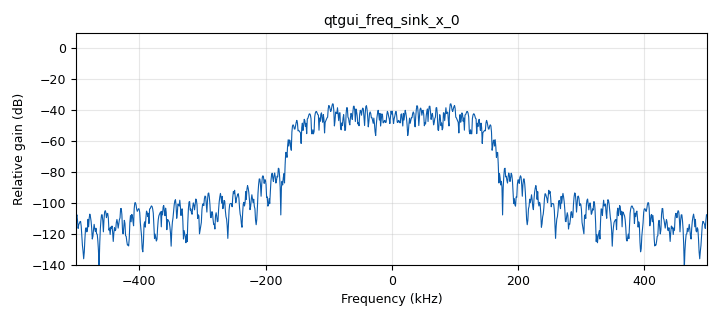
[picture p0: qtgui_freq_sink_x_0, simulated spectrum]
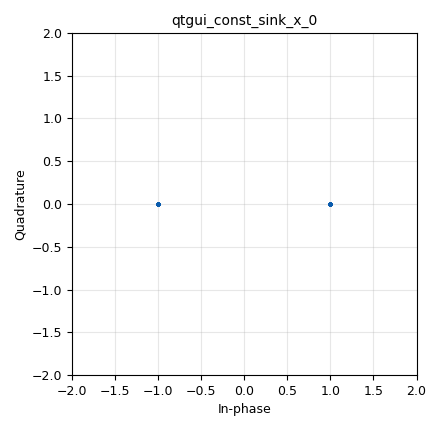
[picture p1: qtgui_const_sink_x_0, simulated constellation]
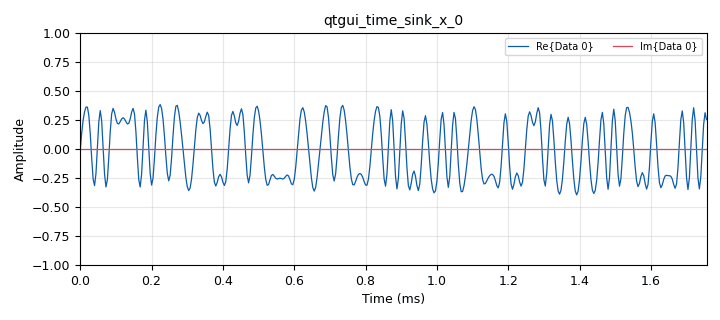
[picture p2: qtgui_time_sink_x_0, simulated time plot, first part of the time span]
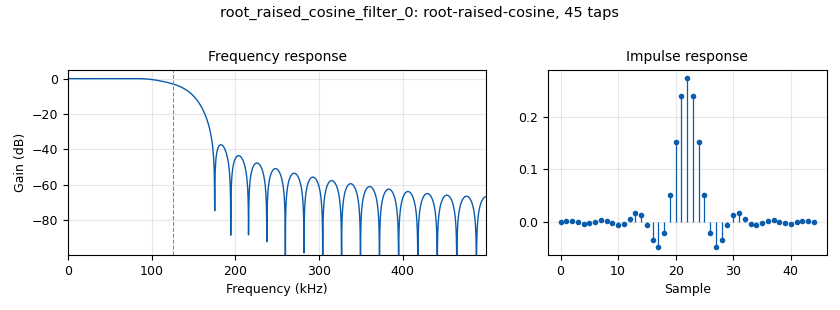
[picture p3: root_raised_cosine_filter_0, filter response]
<?xml version='1.0' encoding='utf-8'?>
<flow_graph>
<block>
<key>options</key>
<param><key>id</key><value>GRC_COIL_BPSK_TX</value></param>
<param><key>generate_options</key><value>qt_gui</value></param>
<param><key>category</key><value>Custom</value></param>
</block>
<block>
<key>variable</key>
<param><key>id</key><value>usrp_rate</value></param>
<param><key>value</key><value>1e6</value></param>
</block>
<block>
<key>variable</key>
<param><key>id</key><value>bit_rate</value></param>
<param><key>value</key><value>250000</value></param>
</block>
<block>
<key>variable</key>
<param><key>id</key><value>sps</value></param>
<param><key>value</key><value>4</value></param>
</block>
<block>
<key>variable</key>
<param><key>id</key><value>gain</value></param>
<param><key>value</key><value>25</value></param>
</block>
<block>
<key>variable</key>
<param><key>id</key><value>freq</value></param>
<param><key>value</key><value>913e6</value></param>
</block>
<block>
<key>digital_scrambler_bb</key>
<param><key>id</key><value>digital_scrambler_bb_0</value></param>
<param><key>mask</key><value>0x8A</value></param>
<param><key>seed</key><value>0x7F</value></param>
<param><key>len</key><value>7</value></param>
</block>
<block>
<key>digital_chunks_to_symbols_xx</key>
<param><key>id</key><value>digital_chunks_to_symbols_xx_0</value></param>
<param><key>in_type</key><value>byte</value></param>
<param><key>out_type</key><value>complex</value></param>
<param><key>symbol_table</key><value>[-1+0j,1+0j]</value></param>
<param><key>dimension</key><value>1</value></param>
</block>
<block>
<key>qtgui_freq_sink_x</key>
<param><key>id</key><value>qtgui_freq_sink_x_0</value></param>
<param><key>type</key><value>complex</value></param>
<param><key>fftsize</key><value>1024</value></param>
<param><key>wintype</key><value>firdes.WIN_BLACKMAN_hARRIS</value></param>
<param><key>fc</key><value>0</value></param>
<param><key>bw</key><value>usrp_rate</value></param>
</block>
<block>
<key>qtgui_const_sink_x</key>
<param><key>id</key><value>qtgui_const_sink_x_0</value></param>
<param><key>type</key><value>complex</value></param>
<param><key>size</key><value>1024</value></param>
</block>
<block>
<key>qtgui_time_sink_x</key>
<param><key>id</key><value>qtgui_time_sink_x_0</value></param>
<param><key>type</key><value>complex</value></param>
<param><key>size</key><value>1024</value></param>
<param><key>srate</key><value>bit_rate</value></param>
</block>
<block>
<key>root_raised_cosine_filter</key>
<param><key>id</key><value>root_raised_cosine_filter_0</value></param>
<param><key>type</key><value>interp_fir_filter_ccf</value></param>
<param><key>interp</key><value>sps</value></param>
<param><key>gain</key><value>1</value></param>
<param><key>samp_rate</key><value>usrp_rate</value></param>
<param><key>sym_rate</key><value>bit_rate</value></param>
<param><key>alpha</key><value>0.35</value></param>
<param><key>ntaps</key><value>11*sps</value></param>
</block>
<block>
<key>osmosdr_sink</key>
<param><key>id</key><value>osmosdr_sink_0</value></param>
<param><key>type</key><value>fc32</value></param>
<param><key>args</key><value></value></param>
<param><key>sample_rate</key><value>usrp_rate</value></param>
<param><key>freq0</key><value>freq</value></param>
<param><key>gain0</key><value>10</value></param>
<param><key>if_gain0</key><value>20</value></param>
<param><key>bb_gain0</key><value>20</value></param>
</block>
<block>
<key>blocks_vector_source_x</key>
<param><key>id</key><value>blocks_vector_source_x_0</value></param>
<param><key>type</key><value>byte</value></param>
<param><key>vector</key><value>(0, 1, 0,1,1,0)</value></param>
<param><key>repeat</key><value>True</value></param>
</block>
<connection><source_block_id>digital_chunks_to_symbols_xx_0</source_block_id><sink_block_id>qtgui_const_sink_x_0</sink_block_id><source_key>0</source_key><sink_key>0</sink_key></connection>
<connection><source_block_id>root_raised_cosine_filter_0</source_block_id><sink_block_id>qtgui_time_sink_x_0</sink_block_id><source_key>0</source_key><sink_key>0</sink_key></connection>
<connection><source_block_id>blocks_vector_source_x_0</source_block_id><sink_block_id>digital_scrambler_bb_0</sink_block_id><source_key>0</source_key><sink_key>0</sink_key></connection>
<connection><source_block_id>root_raised_cosine_filter_0</source_block_id><sink_block_id>qtgui_freq_sink_x_0</sink_block_id><source_key>0</source_key><sink_key>0</sink_key></connection>
<connection><source_block_id>digital_chunks_to_symbols_xx_0</source_block_id><sink_block_id>root_raised_cosine_filter_0</sink_block_id><source_key>0</source_key><sink_key>0</sink_key></connection>
<connection><source_block_id>digital_scrambler_bb_0</source_block_id><sink_block_id>digital_chunks_to_symbols_xx_0</sink_block_id><source_key>0</source_key><sink_key>0</sink_key></connection>
<connection><source_block_id>root_raised_cosine_filter_0</source_block_id><sink_block_id>osmosdr_sink_0</sink_block_id><source_key>0</source_key><sink_key>0</sink_key></connection>
</flow_graph>
